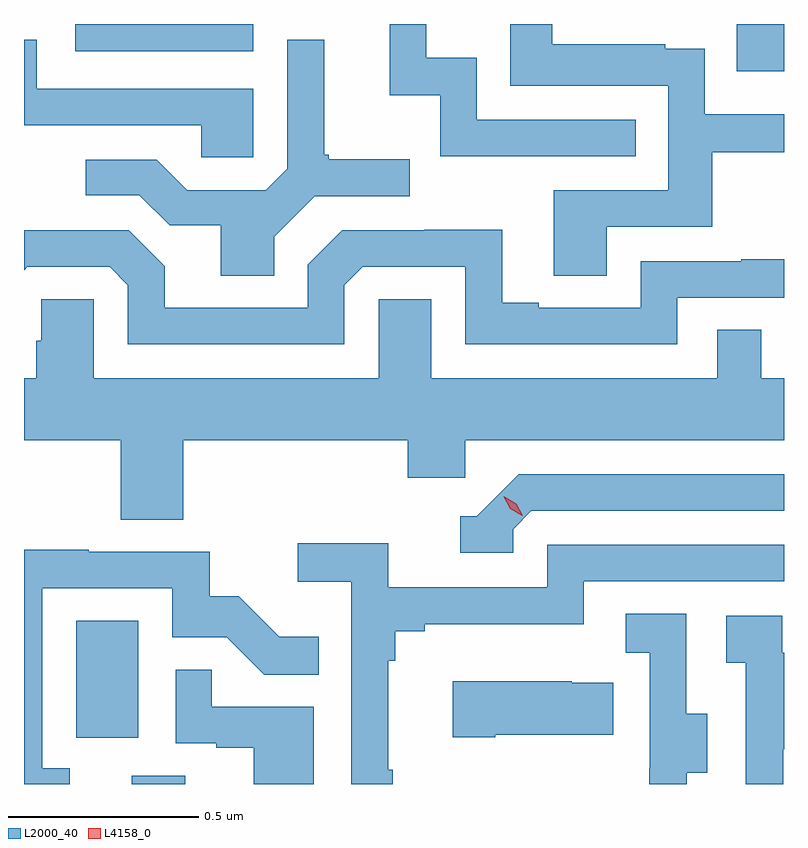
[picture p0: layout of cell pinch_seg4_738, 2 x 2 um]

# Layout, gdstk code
import gdstk
lib = gdstk.Library(unit=1e-6, precision=1e-09)
def R(c, l, rs):  # rectangles x0, y0, x1, y1
    for r in rs: c.add(gdstk.rectangle(r[:2], r[2:], *l))
def P(c, l, *ps):  # polygons
    for p in ps: c.add(gdstk.Polygon(p, *l))
L2000_40 = (2000, 40)
L4158_0 = (4158, 0)

pinch_seg4_738 = lib.new_cell('pinch_seg4_738')
R(pinch_seg4_738, L2000_40, [(833.687,830.548,833.827,830.57), (833.54,830.67,833.704,830.977), (835.279,832.424,835.403,832.548), (833.538,832.476,834.006,832.548)])
P(pinch_seg4_738, L2000_40, [(834.937,832.014),(835.214,832.014),(835.214,832.21),(835.403,832.21),(835.403,832.311),(835.194,832.311),(835.194,832.483),(835.091,832.483),(835.091,832.495),(834.793,832.495),(834.793,832.548),(834.682,832.548),(834.682,832.386),(835.098,832.386),(835.098,832.11),(834.797,832.11),(834.797,831.886),(834.937,831.886)],
  [(835.013,832.296),(834.594,832.296),(834.594,832.459),(834.462,832.459),(834.462,832.548),(834.365,832.548),(834.365,832.361),(834.498,832.361),(834.498,832.2),(835.013,832.2)],
  [(834.061,831.988),(834.168,832.095),(834.418,832.095),(834.418,832.192),(834.205,832.192),(834.205,832.204),(834.193,832.204),(834.193,832.507),(834.096,832.507),(834.096,832.167),(834.039,832.11),(833.833,832.11),(833.752,832.191),(833.565,832.191),(833.565,832.098),(833.706,832.098),(833.786,832.018),(833.921,832.018),(833.921,831.886),(834.061,831.886)],
  [(834.006,832.377),(833.437,832.377),(833.437,832.507),(833.403,832.507),(833.403,832.281),(833.869,832.281),(833.869,832.197),(834.006,832.197)],
  [(834.246,831.861),(834.294,831.909),(834.564,831.909),(834.564,831.705),(835.122,831.705),(835.122,831.828),(835.403,831.828),(835.403,831.929),(835.291,831.929),(835.291,831.924),(835.026,831.924),(835.026,831.801),(834.757,831.801),(834.757,831.814),(834.661,831.814),(834.661,832.007),(834.456,832.007),(834.456,832.005),(834.24,832.005),(834.15,831.915),(834.15,831.801),(833.773,831.801),(833.773,831.911),(833.679,832.005),(833.403,832.005),(833.403,831.9),(833.412,831.909),(833.628,831.909),(833.676,831.861),(833.676,831.705),(834.246,831.705)],
  [(833.822,831.452),(834.413,831.452),(834.413,831.354),(834.564,831.354),(834.564,831.452),(835.403,831.452),(835.403,831.616),(835.343,831.616),(835.343,831.743),(835.227,831.743),(835.227,831.616),(834.475,831.616),(834.475,831.824),(834.336,831.824),(834.336,831.616),(833.586,831.616),(833.586,831.824),(833.449,831.824),(833.449,831.714),(833.435,831.714),(833.435,831.616),(833.403,831.616),(833.403,831.452),(833.657,831.452),(833.657,831.244),(833.822,831.244)],
  [(834.69,831.219),(834.738,831.267),(835.403,831.267),(835.403,831.363),(834.705,831.363),(834.594,831.252),(834.551,831.252),(834.551,831.156),(834.69,831.156)],
  [(834.373,830.585),(834.361,830.585),(834.361,830.873),(834.38,830.873),(834.38,830.95),(834.457,830.95),(834.457,830.969),(834.876,830.969),(834.876,831.081),(835.403,831.081),(835.403,831.177),(834.78,831.177),(834.78,831.066),(834.362,831.066),(834.362,831.182),(834.123,831.182),(834.123,831.08),(834.264,831.08),(834.264,830.548),(834.373,830.548)],
  [(833.524,830.589),(833.451,830.589),(833.451,831.063),(833.793,831.063),(833.793,830.934),(833.937,830.934),(834.035,830.836),(834.179,830.836),(834.179,830.935),(834.075,830.935),(833.968,831.042),(833.892,831.042),(833.892,831.159),(833.573,831.159),(833.573,831.164),(833.403,831.164),(833.403,830.548),(833.524,830.548)],
  [(835.147,830.578),(835.201,830.578),(835.201,830.733),(835.146,830.733),(835.146,830.996),(834.987,830.996),(834.987,830.893),(835.05,830.893),(835.05,830.589),(835.049,830.589),(835.049,830.548),(835.147,830.548)],
  [(835.401,830.639),(835.403,830.639),(835.403,830.893),(835.398,830.893),(835.398,830.991),(835.251,830.991),(835.251,830.867),(835.302,830.867),(835.302,830.548),(835.401,830.548)],
  [(834.166,830.751),(833.897,830.751),(833.897,830.849),(833.802,830.849),(833.802,830.655),(833.909,830.655),(833.909,830.643),(834.008,830.643),(834.008,830.548),(834.166,830.548)],
  [(834.643,830.678),(834.953,830.678),(834.953,830.815),(834.845,830.815),(834.845,830.818),(834.531,830.818),(834.531,830.671),(834.643,830.671)])
P(pinch_seg4_738, L4158_0, [(834.714,831.254),(834.683,831.272),(834.666,831.304),(834.666,831.305),(834.666,831.305),(834.698,831.286),(834.715,831.254),(834.715,831.254)])

lib.write_gds('pinch_seg4_738.gds')
